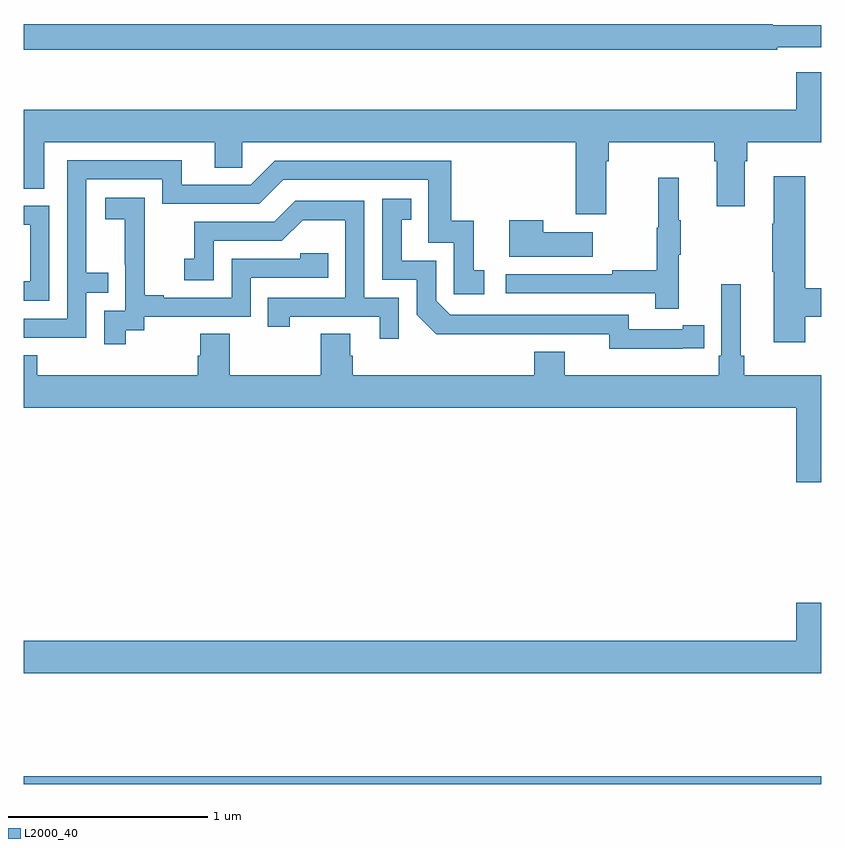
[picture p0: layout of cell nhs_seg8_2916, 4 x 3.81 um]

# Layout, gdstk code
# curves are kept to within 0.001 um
import gdstk
lib = gdstk.Library(unit=1e-6, precision=1e-09)
def R(c, l, rs):  # rectangles x0, y0, x1, y1
    for r in rs: c.add(gdstk.rectangle(r[:2], r[2:], *l))
def P(c, l, *ps):  # polygons
    for p in ps: c.add(gdstk.Polygon(p, *l))
L2000_40 = (2000, 40)

nhs_seg8_2916 = lib.new_cell('nhs_seg8_2916')
R(nhs_seg8_2916, L2000_40, [(293,1159.9,297,1159.94)])
P(nhs_seg8_2916, L2000_40, [(296.78,1163.598),(297,1163.598),(297,1163.707),(296.758,1163.707),(296.758,1163.714),(293,1163.714),(293,1163.586),(296.78,1163.586)],
  [(295.921,1163.024),(295.934,1163.024),(295.934,1163.12),(296.465,1163.12),(296.465,1163.024),(296.477,1163.024),(296.477,1162.8),(296.617,1162.8),(296.617,1163.024),(296.63,1163.024),(296.63,1163.12),(297,1163.12),(297,1163.473),(296.876,1163.473),(296.876,1163.284),(293,1163.284),(293,1162.888),(293.101,1162.888),(293.101,1163.12),(293.957,1163.12),(293.957,1162.993),(294.096,1162.993),(294.096,1163.12),(295.769,1163.12),(295.769,1162.758),(295.921,1162.758)],
  [(293.313,1162.365),(293.423,1162.365),(293.423,1162.466),(293.313,1162.466),(293.313,1162.935),(293.694,1162.935),(293.694,1162.812),(294.18,1162.812),(294.3,1162.932),(295.029,1162.932),(295.029,1162.617),(295.158,1162.617),(295.158,1162.359),(295.309,1162.359),(295.309,1162.479),(295.256,1162.479),(295.256,1162.726),(295.145,1162.726),(295.145,1163.028),(294.258,1163.028),(294.138,1162.908),(293.791,1162.908),(293.791,1163.031),(293.217,1163.031),(293.217,1162.236),(293,1162.236),(293,1162.14),(293.313,1162.14)],
  [(296.921,1162.246),(297,1162.246),(297,1162.388),(296.921,1162.388),(296.921,1162.951),(296.762,1162.951),(296.762,1162.712),(296.755,1162.712),(296.755,1162.471),(296.762,1162.471),(296.762,1162.116),(296.921,1162.116)],
  [(296.285,1162.555),(296.296,1162.555),(296.296,1162.729),(296.285,1162.729),(296.285,1162.942),(296.182,1162.942),(296.182,1162.692),(296.175,1162.692),(296.175,1162.478),(295.951,1162.478),(295.951,1162.458),(295.419,1162.458),(295.419,1162.362),(296.167,1162.362),(296.167,1162.284),(296.285,1162.284)],
  [(293.512,1162.177),(293.604,1162.177),(293.604,1162.245),(294.138,1162.245),(294.138,1162.44),(294.527,1162.44),(294.527,1162.563),(294.387,1162.563),(294.387,1162.536),(294.042,1162.536),(294.042,1162.341),(293.701,1162.341),(293.701,1162.354),(293.606,1162.354),(293.606,1162.637),(293.607,1162.637),(293.607,1162.843),(293.409,1162.843),(293.409,1162.733),(293.507,1162.733),(293.507,1162.505),(293.508,1162.505),(293.508,1162.275),(293.403,1162.275),(293.403,1162.107),(293.512,1162.107)],
  [(296.306,1162.086),(296.414,1162.086),(296.414,1162.202),(296.306,1162.202),(296.306,1162.182),(296.034,1162.182),(296.034,1162.254),(295.14,1162.254),(295.068,1162.326),(295.068,1162.527),(294.895,1162.527),(294.895,1162.731),(294.944,1162.731),(294.944,1162.837),(294.798,1162.837),(294.798,1162.431),(294.972,1162.431),(294.972,1162.254),(295.07,1162.157),(295.938,1162.158),(295.938,1162.085)],
  [(294.882,1162.341),(294.708,1162.341),(294.708,1162.827),(294.362,1162.827),(294.257,1162.722),(293.854,1162.722),(293.854,1162.537),(293.805,1162.537),(293.805,1162.428),(293.952,1162.428),(293.952,1162.626),(294.294,1162.626),(294.398,1162.73),(294.612,1162.73),(294.612,1162.341),(294.223,1162.341),(294.223,1162.194),(294.334,1162.194),(294.334,1162.245),(294.785,1162.245),(294.785,1162.134),(294.882,1162.134)],
  [(293.127,1162.803),(293,1162.803),(293,1162.707),(293.031,1162.707),(293.031,1162.422),(293,1162.422),(293,1162.326),(293.127,1162.326)],
  [(295.855,1162.669),(295.607,1162.669),(295.607,1162.729),(295.436,1162.729),(295.436,1162.547),(295.855,1162.547)],
  [(297,1161.952),(296.615,1161.952),(296.615,1162.048),(296.596,1162.048),(296.596,1162.408),(296.499,1162.408),(296.499,1162.048),(296.486,1162.048),(296.486,1161.952),(295.714,1161.952),(295.714,1162.069),(295.562,1162.069),(295.562,1161.952),(294.65,1161.952),(294.65,1162.05),(294.637,1162.05),(294.637,1162.16),(294.49,1162.16),(294.49,1161.952),(294.033,1161.952),(294.033,1162.16),(293.885,1162.16),(293.885,1162.05),(293.873,1162.05),(293.873,1161.952),(293.066,1161.952),(293.066,1162.051),(293,1162.051),(293,1161.788),(296.876,1161.788),(296.876,1161.414),(297,1161.414)],
  [(297,1160.809),(296.876,1160.809),(296.876,1160.62),(293,1160.62),(293,1160.456),(297,1160.456)])

lib.write_gds('nhs_seg8_2916.gds')
